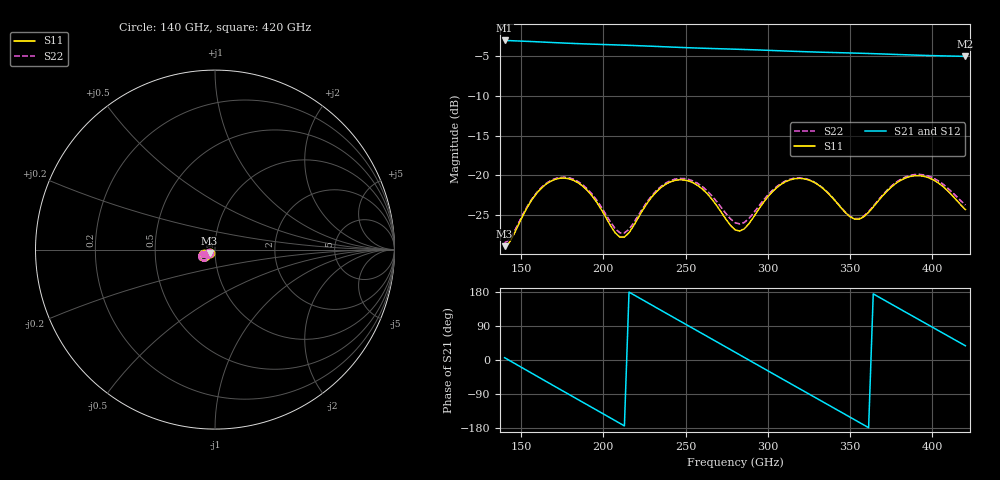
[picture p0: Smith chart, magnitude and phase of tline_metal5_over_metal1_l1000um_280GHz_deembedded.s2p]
! Created with skrf 2.2.0 (http://scikit-rf.org).
# GHz S DB R 50.0
! Port[1] = P1
! Port[2] = P2
!freq dBS11 angS11 dBS21 angS21 dBS12 angS12 dBS22 angS22
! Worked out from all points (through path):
!   101 points, 140 GHz to 420 GHz, reference 50 ohm
!   highest |S21| = -3.04 dB at 140 GHz (marker M1); lowest = -5.0 dB at 420 GHz (marker M2)
!   group delay of S21, straight-line fit = 6.83 ps
!   lowest |S11| = -28.9 dB at 140 GHz (marker M3), VSWR 1.07, Z = 47 - j1.75 ohm
!   |S11| at or under -10 dB: start of sweep to end of sweep
!   |S22| runs from -28.5 to -19.9 dB; largest |S21 - S12| = 1.3e-13
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140  -28.91 -148.7  -3.04 6.1  -3.04 6.1  -28.48 -149.0
151.2  -25.02 -122.8  -3.13 -21.8  -3.13 -21.8  -24.88 -123.5
165.2  -21.11 -134.8  -3.26 -56.5  -3.26 -56.5  -21.03 -134.6
176.4  -20.35 -151.8  -3.37 -84.2  -3.37 -84.2  -20.24 -151.0
187.6  -21.38 -167.7  -3.46 -111.7  -3.46 -111.7  -21.21 -166.5
198.8  -24.32 -175.7  -3.54 -139.3  -3.54 -139.3  -24.00 -174.0
210  -27.77 -156.7  -3.61 -167.0  -3.61 -167.0  -27.22 -156.5
221.2  -25.34 -129.8  -3.70 165.3  -3.70 165.3  -25.06 -130.9
235.2  -21.52 -135.8  -3.82 130.7  -3.82 130.7  -21.37 -135.9
246.4  -20.56 -150.3  -3.91 103.2  -3.91 103.2  -20.39 -149.5
257.6  -21.32 -164.5  -4.00 75.7  -4.00 75.7  -21.05 -163.1
280  -26.85 -157.4  -4.14 20.7  -4.14 20.7  -25.95 -157.6
299.6  -22.79 -129.6  -4.28 -27.6  -4.28 -27.6  -22.56 -132.7
313.6  -20.56 -142.5  -4.39 -62.0  -4.39 -62.0  -20.48 -144.4
327.6  -20.83 -158.8  -4.49 -96.2  -4.49 -96.2  -20.79 -160.0
338.8  -22.73 -166.2  -4.55 -123.6  -4.55 -123.6  -22.68 -166.8
352.8  -25.51 -152.0  -4.63 -158.0  -4.63 -158.0  -25.45 -152.1
364  -23.99 -133.4  -4.70 174.5  -4.70 174.5  -23.89 -133.2
375.2  -21.43 -134.0  -4.78 147.0  -4.78 147.0  -21.32 -133.6
386.4  -20.15 -144.4  -4.86 119.6  -4.86 119.6  -20.01 -143.6
397.6  -20.30 -156.6  -4.93 92.3  -4.93 92.3  -20.10 -155.4
420  -24.31 -160.8  -5.04 37.5  -5.04 37.5  -23.73 -159.4
